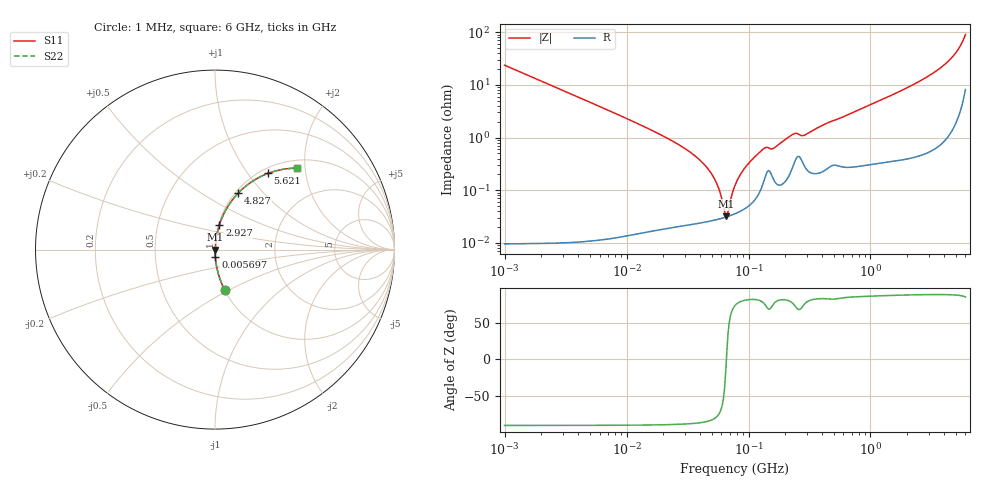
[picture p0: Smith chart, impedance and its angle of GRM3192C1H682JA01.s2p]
!Murata Part Number: GRM3192C1H682JA01
!These Parameters are Measured in Series Mode Connection
!Data Generated on Mar 30, 2021
!  o--ll--o
!Port1  Port2
!  o------o
!Operation Temp=25[degC], DC Bias Voltage=0[V]
!Freq. Start=1000[kHz] Stop=6[GHz] 401[Steps]
# Hz S RI R 50
!Freq.(Hz) S11(Real) S11(Imag) S21(Real) S21(Imag) S12(Real) S12(Imag) S22(Real) S22(Imag)
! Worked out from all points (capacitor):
!   401 points, 1 MHz to 6 GHz, reference 50 ohm
!   read as one part in series: C = 6.73 nF near 1.044 MHz
!   lowest |Z| = 32.2 mohm at 65.09 MHz (marker M1)
!   series resonance near 65.87 MHz, so ESL is about 870 pH
!   S11 on the Smith chart (normalised r, x): 1 MHz: 1.00, -0.47; 5.697 MHz: 1.00, -0.08; 2.927 GHz: 1.01, +0.29; 4.827 GHz: 1.03, +0.73; 5.621 GHz: 1.08, +1.25; 6 GHz: 1.16, +1.80
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1000000  0.053 -0.2238  0.947 0.2238  0.947 0.2238  0.053 -0.2238
4293785  0.0031 -0.0546  0.9969 0.0546  0.9969 0.0546  0.0031 -0.0546
5696791  0.0018 -0.0411  0.9982 0.0411  0.9982 0.0411  0.0018 -0.0411
1.843659e7  0.000316 -0.0118  0.9997 0.0118  0.9997 0.0118  0.000316 -0.0118
3.175522e7  0.000251 -0.00569  0.9997 0.00569  0.9997 0.00569  0.000251 -0.00569
4.497189e7  0.000259 -0.0028  0.9997 0.0028  0.9997 0.0028  0.000259 -0.0028
5.469524e7  0.00028 -0.00134  0.9997 0.00134  0.9997 0.00134  0.00028 -0.00134
6.508975e7  0.000311 -8.51e-05  0.9997 8.51e-05  0.9997 8.51e-05  0.000311 -8.51e-05
6.798347e7  0.000321 0.000229  0.9997 -0.000229  0.9997 -0.000229  0.000321 0.000229
7.745967e7  0.000361 0.00118  0.9996 -0.00118  0.9996 -0.00118  0.000361 0.00118
8.450008e7  0.000398 0.00184  0.9996 -0.00184  0.9996 -0.00184  0.000398 0.00184
9.420718e7  0.000462 0.0027  0.9995 -0.0027  0.9995 -0.0027  0.000462 0.0027
1.334167e8  0.00151 0.00599  0.9985 -0.00599  0.9985 -0.00599  0.00151 0.00599
1.622626e8  0.00156 0.00616  0.9984 -0.00616  0.9984 -0.00616  0.00156 0.00616
2.348496e8  0.00323 0.0113  0.9968 -0.0113  0.9968 -0.0113  0.00323 0.0113
2.794814e8  0.00339 0.0103  0.9966 -0.0103  0.9966 -0.0103  0.00339 0.0103
3.325952e8  0.00227 0.0133  0.9977 -0.0133  0.9977 -0.0133  0.00227 0.0133
1.428092e9  0.00709 0.0602  0.9929 -0.0602  0.9929 -0.0602  0.00709 0.0602
2.927209e9  0.0248 0.1386  0.9752 -0.1386  0.9752 -0.1386  0.0248 0.1386
4.827224e9  0.1281 0.3135  0.8719 -0.3135  0.8719 -0.3135  0.1281 0.3135
5.62102e9  0.2951 0.4248  0.7049 -0.4248  0.7049 -0.4248  0.2951 0.4248
6e9  0.4541 0.4546  0.5459 -0.4546  0.5459 -0.4546  0.4541 0.4546
